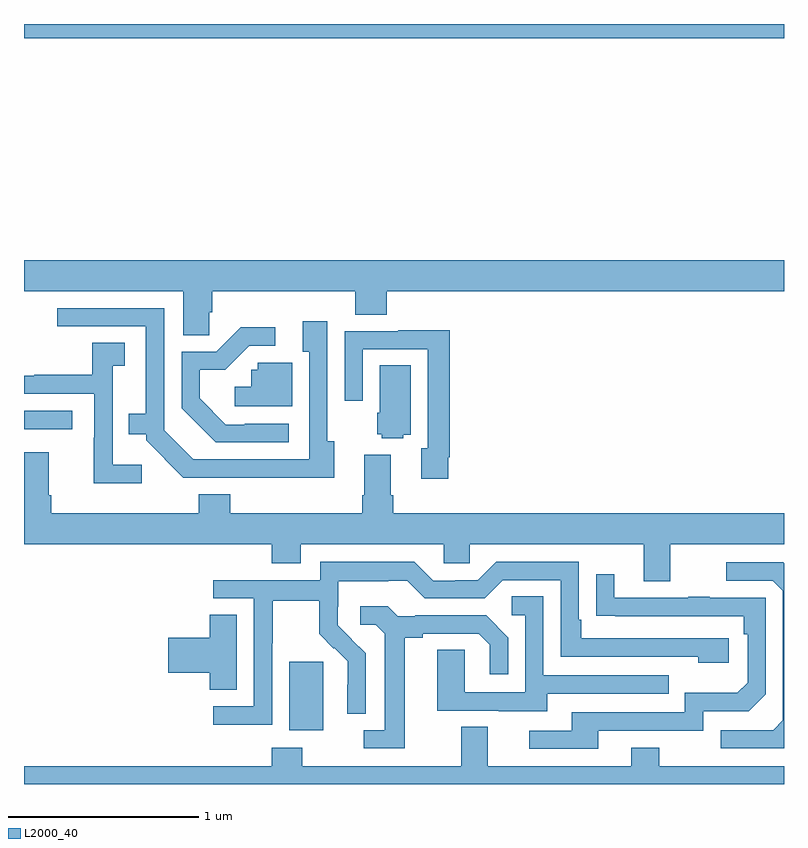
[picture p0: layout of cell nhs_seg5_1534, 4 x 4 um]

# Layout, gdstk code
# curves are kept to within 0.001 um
import gdstk
lib = gdstk.Library(unit=1e-6, precision=1e-09)
def R(c, l, rs):  # rectangles x0, y0, x1, y1
    for r in rs: c.add(gdstk.rectangle(r[:2], r[2:], *l))
def P(c, l, *ps):  # polygons
    for p in ps: c.add(gdstk.Polygon(p, *l))
L2000_40 = (2000, 40)

nhs_seg5_1534 = lib.new_cell('nhs_seg5_1534')
R(nhs_seg5_1534, L2000_40, [(204.395,889.082,204.574,889.443), (203,890.667,203.254,890.763), (203,892.724,207,892.799)])
P(nhs_seg5_1534, L2000_40, [(203.975,891.282),(203.99,891.282),(203.99,891.392),(204.743,891.392),(204.743,891.268),(204.908,891.268),(204.908,891.392),(207,891.392),(207,891.556),(203,891.556),(203,891.392),(203.837,891.392),(203.837,891.16),(203.975,891.16)],
  [(204.634,890.602),(204.597,890.602),(204.597,891.235),(204.467,891.235),(204.467,891.074),(204.501,891.074),(204.501,890.508),(203.892,890.508),(203.739,890.661),(203.739,891.303),(203.175,891.303),(203.175,891.207),(203.642,891.207),(203.642,890.749),(203.551,890.749),(203.551,890.639),(203.643,890.639),(203.643,890.607),(203.838,890.412),(204.634,890.411)],
  [(204.394,890.694),(204.163,890.694),(204.163,890.691),(204.063,890.691),(203.926,890.828),(203.926,890.978),(204.059,890.978),(204.186,891.105),(204.322,891.105),(204.322,891.203),(204.14,891.203),(204.012,891.075),(203.829,891.075),(203.829,890.777),(204.008,890.598),(204.394,890.598)],
  [(205.234,890.518),(205.241,890.518),(205.241,891.187),(204.971,891.187),(204.971,891.183),(204.687,891.183),(204.687,890.817),(204.783,890.817),(204.783,891.087),(205.125,891.087),(205.125,890.567),(205.091,890.567),(205.091,890.406),(205.234,890.406)],
  [(203.62,890.479),(203.466,890.479),(203.466,891.001),(203.53,891.001),(203.53,891.122),(203.358,891.122),(203.358,890.952),(203.053,890.952),(203.053,890.949),(203,890.949),(203,890.853),(203.37,890.853),(203.37,890.621),(203.368,890.621),(203.368,890.381),(203.62,890.381)],
  [(204.412,891.015),(204.231,891.015),(204.231,890.979),(204.195,890.979),(204.195,890.89),(204.108,890.89),(204.108,890.787),(204.412,890.787)],
  [(204.996,890.636),(205.036,890.636),(205.036,891.002),(204.872,891.002),(204.872,890.754),(204.86,890.754),(204.86,890.64),(204.882,890.64),(204.882,890.618),(204.996,890.618)],
  [(206.401,890.06),(207,890.06),(207,890.224),(204.944,890.224),(204.944,890.32),(204.931,890.32),(204.931,890.533),(204.791,890.533),(204.791,890.32),(204.779,890.32),(204.779,890.224),(204.086,890.224),(204.086,890.323),(203.921,890.323),(203.921,890.224),(203.144,890.224),(203.144,890.32),(203.131,890.32),(203.131,890.545),(203,890.545),(203,890.06),(204.305,890.06),(204.305,889.961),(204.457,889.961),(204.457,890.06),(205.209,890.06),(205.209,889.962),(205.347,889.962),(205.347,890.06),(206.261,890.06),(206.261,889.866),(206.401,889.866)],
  [(204.306,889.54),(204.309,889.54),(204.309,889.764),(204.553,889.764),(204.553,889.589),(204.63,889.512),(204.633,889.515),(204.704,889.445),(204.704,889.322),(204.702,889.322),(204.702,889.168),(204.798,889.168),(204.798,889.486),(204.652,889.634),(204.652,889.731),(204.654,889.731),(204.654,889.865),(204.917,889.865),(204.917,889.869),(205.017,889.869),(205.11,889.776),(205.425,889.776),(205.521,889.872),(205.824,889.872),(205.824,889.47),(206.549,889.47),(206.549,889.436),(206.71,889.436),(206.71,889.566),(205.933,889.566),(205.933,889.663),(205.92,889.663),(205.92,889.968),(205.485,889.968),(205.389,889.872),(205.271,889.872),(205.271,889.869),(205.155,889.869),(205.055,889.969),(204.558,889.969),(204.558,889.872),(203.997,889.872),(203.997,889.776),(204.21,889.776),(204.21,889.209),(203.997,889.209),(203.997,889.111),(204.306,889.111)],
  [(207,889.962),(206.997,889.965),(206.697,889.965),(206.697,889.869),(206.94,889.869),(206.994,889.815),(206.994,889.134),(206.943,889.083),(206.667,889.083),(206.667,888.987),(207,888.987)],
  [(206.023,889.08),(206.574,889.08),(206.574,889.182),(206.814,889.182),(206.904,889.272),(206.904,889.779),(206.609,889.779),(206.609,889.784),(206.497,889.784),(206.497,889.779),(206.107,889.779),(206.107,889.903),(206.011,889.903),(206.011,889.684),(206.788,889.683),(206.788,889.586),(206.808,889.586),(206.808,889.332),(206.755,889.279),(206.478,889.279),(206.478,889.176),(205.883,889.176),(205.883,889.08),(205.659,889.08),(205.659,888.984),(206.023,888.984)],
  [(205.753,889.275),(206.393,889.275),(206.393,889.371),(205.734,889.371),(205.734,889.787),(205.566,889.787),(205.566,889.686),(205.638,889.686),(205.638,889.281),(205.32,889.281),(205.32,889.505),(205.175,889.505),(205.175,889.185),(205.499,889.185),(205.499,889.181),(205.753,889.181)],
  [(205.003,889.568),(205.099,889.568),(205.099,889.59),(205.394,889.59),(205.451,889.533),(205.451,889.377),(205.548,889.377),(205.548,889.57),(205.432,889.686),(205.06,889.686),(205.06,889.683),(204.966,889.683),(204.914,889.735),(204.771,889.735),(204.771,889.638),(204.852,889.638),(204.899,889.591),(204.899,889.083),(204.789,889.083),(204.789,888.987),(205.003,888.987)],
  [(204.121,889.691),(203.978,889.691),(203.978,889.568),(203.76,889.568),(203.76,889.385),(203.978,889.385),(203.978,889.294),(204.121,889.294)],
  [(207,888.892),(206.343,888.892),(206.343,888.991),(206.195,888.991),(206.195,888.892),(205.441,888.892),(205.441,889.1),(205.301,889.1),(205.301,888.892),(204.465,888.892),(204.465,888.991),(204.305,888.991),(204.305,888.892),(203,888.892),(203,888.799),(207,888.799)])

lib.write_gds('nhs_seg5_1534.gds')
